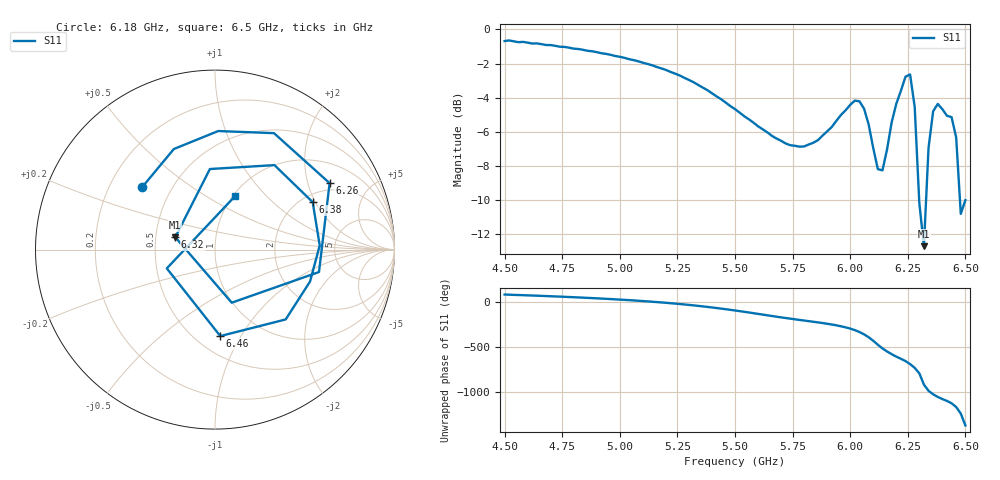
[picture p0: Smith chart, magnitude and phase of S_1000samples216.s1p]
! TOUCHSTONE file generated by CST MICROWAVE STUDIO
! Date and time: Thu Oct 27 10:00:48 2022
! Project name: L.cst
! Parameters = {Di=1.27; Epsilon_r=1.56; InnerDiameter=1.27; Length=2; Lf=10; Lg=60; OuterConductorThickness=0.2921; OuterDiameter=3.6; Wf=3; Wp=41.2; de=1.5; df=6.8; g=0.8; gx=3.6871; gy=2.26182; h=2.34; hf=1.524; px=11.8578; py=13.7249; w=9.7; wx=8.17067; wy=11.4631}
! Header version: 2018
! Port assignment regex: !\s*Touchstone port\s*([0-9]+)\s*=\s*(CST MWS port|CST DS port)\s*([0-9]+|Zmin|Zmax)\s*\(\"(.*)\"\)(\s*mode\s*([0-9]+))?.*
! Touchstone port assignment:
! Touchstone port 1 = CST MWS port 1 ("")
# GHz S DB R 50
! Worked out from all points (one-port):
!   101 points, 4.5 GHz to 6.5 GHz, reference 50 ohm
!   lowest |S11| = -12.7 dB at 6.32 GHz (marker M1), VSWR 1.60, Z = 31.6 + j4.62 ohm
!   |S11| at or under -10 dB: 6.299397 GHz to 6.329376 GHz (29.98 MHz wide, 0.475 % of centre); 6.476395 GHz to end of sweep
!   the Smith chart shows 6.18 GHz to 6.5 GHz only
!   S11 on the Smith chart (normalised r, x): 6.18 GHz: 0.34, +0.33; 6.26 GHz: 1.70, +2.77; 6.32 GHz: 0.63, +0.09; 6.38 GHz: 2.28, +1.91; 6.46 GHz: 0.65, -0.82; 6.5 GHz: 1.02, +0.67
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4.5  -0.68 80.5
4.76  -1.02 55.3
5  -1.60 24.6
5.26  -2.70 -24.5
5.4  -3.74 -62.6
5.5  -4.67 -95.9
5.64  -6.03 -149.5
5.76  -6.82 166.2
5.9  -5.97 116.7
6  -4.42 63.3
6.06  -4.64 -0.5
6.1  -6.95 -71.9
6.14  -8.26 -156.8
6.18  -5.44 139.6
6.22  -3.60 88.4
6.24  -2.77 63.1
6.26  -2.64 30.1
6.28  -4.54 -12.2
6.3  -10.17 -72.5
6.32  -12.70 162.7
6.34  -6.94 93.6
6.36  -4.80 54.9
6.38  -4.36 25.9
6.42  -5.06 -18.5
6.44  -5.14 -44.7
6.46  -6.33 -86.5
6.48  -10.81 -158.7
6.5  -10.00 69.6
